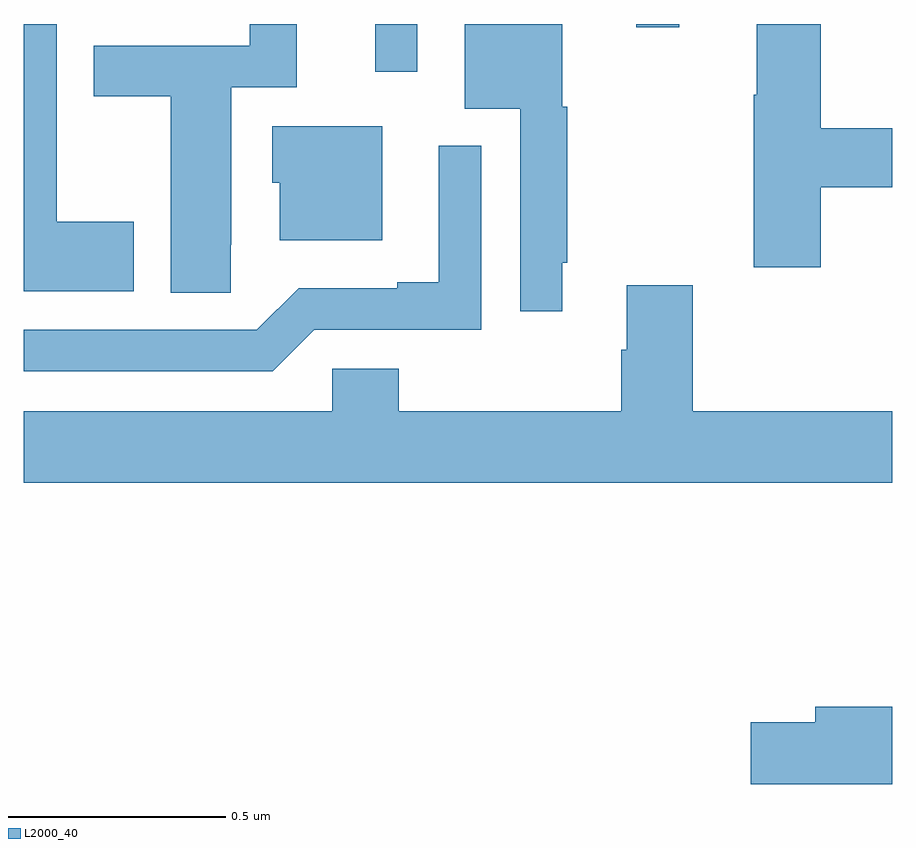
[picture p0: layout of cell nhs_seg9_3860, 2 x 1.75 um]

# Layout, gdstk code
import gdstk
lib = gdstk.Library(unit=1e-6, precision=1e-09)
def R(c, l, rs):  # rectangles x0, y0, x1, y1
    for r in rs: c.add(gdstk.rectangle(r[:2], r[2:], *l))
def P(c, l, *ps):  # polygons
    for p in ps: c.add(gdstk.Polygon(p, *l))
L2000_40 = (2000, 40)

nhs_seg9_3860 = lib.new_cell('nhs_seg9_3860')
R(nhs_seg9_3860, L2000_40, [(159.809,1173.39,159.906,1173.5), (160.411,1173.492,160.51,1173.5)])
P(nhs_seg9_3860, L2000_40, [(160.835,1173.124),(161,1173.124),(161,1173.26),(160.835,1173.26),(160.835,1173.5),(160.688,1173.5),(160.688,1173.337),(160.681,1173.337),(160.681,1172.94),(160.835,1172.94)],
  [(160.24,1172.95),(160.252,1172.95),(160.252,1173.309),(160.24,1173.309),(160.24,1173.5),(160.016,1173.5),(160.016,1173.305),(160.143,1173.305),(160.143,1172.838),(160.24,1172.838)],
  [(159.253,1173.045),(159.076,1173.045),(159.076,1173.5),(159,1173.5),(159,1172.885),(159.253,1172.885)],
  [(159.477,1172.992),(159.478,1172.992),(159.478,1173.354),(159.629,1173.354),(159.629,1173.5),(159.52,1173.5),(159.52,1173.45),(159.161,1173.45),(159.161,1173.334),(159.338,1173.334),(159.338,1172.881),(159.477,1172.881)],
  [(159.826,1173.265),(159.572,1173.265),(159.572,1173.135),(159.59,1173.135),(159.59,1173.002),(159.826,1173.002)],
  [(159.669,1172.796),(160.053,1172.796),(160.053,1173.22),(159.956,1173.22),(159.956,1172.905),(159.86,1172.905),(159.86,1172.892),(159.633,1172.892),(159.537,1172.796),(159,1172.796),(159,1172.7),(159.573,1172.7)],
  [(161,1172.608),(160.541,1172.608),(160.541,1172.899),(160.388,1172.899),(160.388,1172.75),(160.376,1172.75),(160.376,1172.608),(159.863,1172.608),(159.863,1172.706),(159.711,1172.706),(159.711,1172.608),(159,1172.608),(159,1172.444),(161,1172.444)],
  [(161,1171.928),(160.823,1171.928),(160.823,1171.892),(160.674,1171.892),(160.674,1171.75),(161,1171.75)])

lib.write_gds('nhs_seg9_3860.gds')
